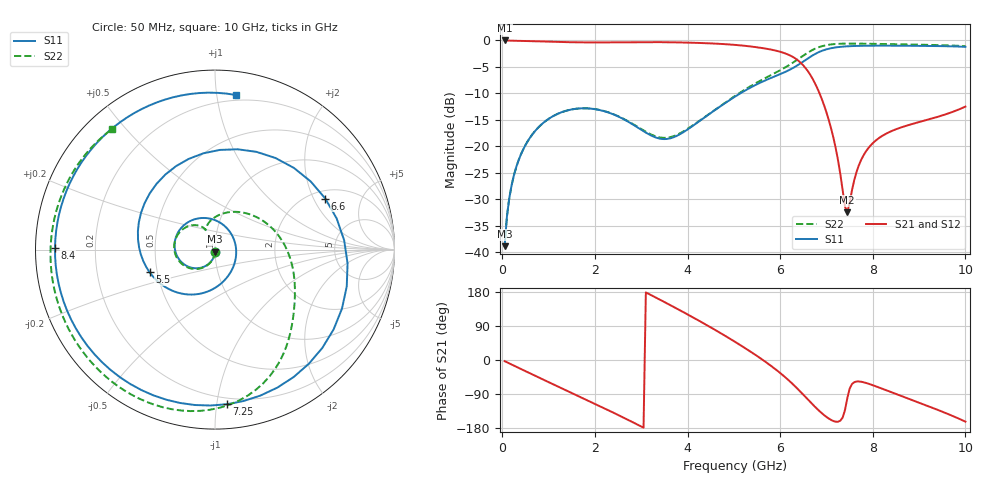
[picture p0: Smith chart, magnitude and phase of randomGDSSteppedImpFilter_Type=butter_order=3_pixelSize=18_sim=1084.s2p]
! freq	dB(S11)	phase(S11)	dB(S12)	phase(S12)
!  dB(S21)	phase(S21)	dB(S22)	phase(S22)
!S-par simulation data
#  GHz  S  DB  R 50
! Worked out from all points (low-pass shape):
!   200 points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, 50 MHz to 10 GHz, reference 50 ohm
!   highest |S21| = -0.01 dB at 50 MHz (marker M1); lowest = -32.4 dB at 7.45 GHz (marker M2)
!   |S21| within 3 dB of the highest: start of sweep to 6.252 GHz
!   lowest |S11| = -38.8 dB at 50 MHz (marker M3), VSWR 1.02, Z = 50.1 - j1.14 ohm
!   |S11| at or under -10 dB: start of sweep to 5.14 GHz
!   |S22| runs from -38.9 to -0.6 dB; largest |S21 - S12| = 0
!   S11 on the Smith chart (normalised r, x): 50 MHz: 1.00, -0.02; 5.5 GHz: 0.45, -0.13; 6.6 GHz: 2.36, +2.48; 7.25 GHz: 0.16, -1.07; 8.4 GHz: 0.06, +0.00; 10 GHz: 0.16, +1.13
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0.05  -38.85 -82.7  -0.01 -3.0  -0.01 -3.0  -38.85 -82.5
0.2  -27.39 -99.3  -0.06 -11.9  -0.06 -11.9  -27.39 -98.7
0.5  -19.77 -119.2  -0.11 -29.4  -0.11 -29.4  -19.77 -117.8
1.15  -14.05 -158.9  -0.28 -67.0  -0.28 -67.0  -14.05 -155.0
1.75  -12.82 164.4  -0.38 -101.2  -0.38 -101.2  -12.81 172.6
2.65  -15.01 101.5  -0.35 -154.0  -0.35 -154.0  -14.95 130.3
3.4  -18.55 22.3  -0.33 159.4  -0.33 159.4  -18.32 115.8
4.3  -14.97 -72.5  -0.50 100.0  -0.50 100.0  -14.91 90.5
5.05  -10.48 -123.9  -0.87 46.2  -0.87 46.2  -10.34 34.0
5.5  -8.28 -160.9  -1.30 10.7  -1.30 10.7  -7.95 -0.0
6.05  -6.19 131.6  -2.28 -39.3  -2.28 -39.3  -5.40 -34.5
6.35  -4.84 77.3  -3.55 -72.8  -3.55 -72.8  -3.76 -50.9
6.6  -3.39 24.8  -5.83 -104.3  -5.83 -104.3  -2.29 -66.6
6.7  -2.83 4.1  -7.24 -117.1  -7.24 -117.1  -1.80 -73.6
7  -1.69 -50.6  -13.61 -150.3  -13.61 -150.3  -0.89 -95.2
7.25  -1.27 -85.6  -22.63 -163.0  -22.63 -163.0  -0.65 -111.4
7.45  -1.12 -108.0  -32.43 -101.0  -32.43 -101.0  -0.60 -122.8
7.8  -1.02 -139.2  -21.70 -58.7  -21.70 -58.7  -0.62 -140.4
8.35  -1.00 -177.4  -17.34 -82.5  -17.34 -82.5  -0.70 -164.4
8.4  -1.00 179.4  -17.14 -84.9  -17.14 -84.9  -0.71 -166.4
9.3  -1.06 126.5  -14.69 -126.7  -14.69 -126.7  -0.86 158.2
10  -1.22 82.3  -12.50 -162.6  -12.50 -162.6  -1.08 130.4
